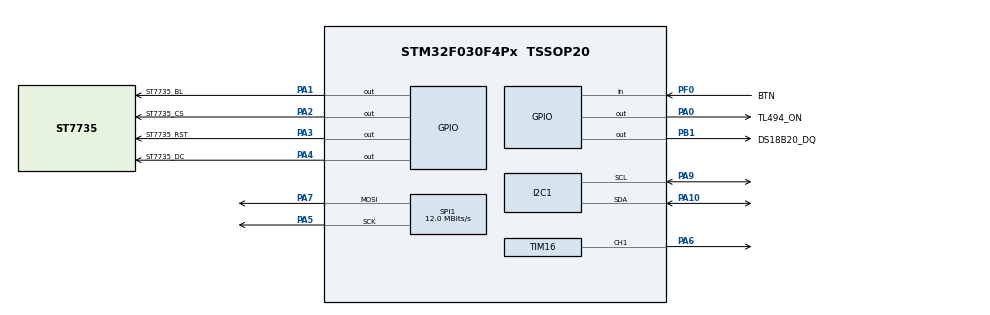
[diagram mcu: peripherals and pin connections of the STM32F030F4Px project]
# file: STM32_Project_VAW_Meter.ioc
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I2C1.Timing=0x00201D2B
Mcu.Family=STM32F0
Mcu.Name=STM32F030F4Px
Mcu.Package=TSSOP20
PA0.GPIO_Label=TL494_ON
PA0.Signal=GPIO_Output
PA1.GPIO_Label=ST7735_BL
PA1.PinState=GPIO_PIN_RESET
PA1.Signal=GPIO_Output
PA10.GPIO_Pu=GPIO_NOPULL
PA10.Mode=I2C
PA10.Signal=I2C1_SDA
PA13.Mode=Serial_Wire
PA13.Signal=SYS_SWDIO
PA14.Mode=Serial_Wire
PA14.Signal=SYS_SWCLK
PA2.GPIO_Label=ST7735_CS
PA2.GPIO_Speed=GPIO_SPEED_FREQ_HIGH
PA2.PinState=GPIO_PIN_SET
PA2.Signal=GPIO_Output
PA3.GPIO_Label=ST7735_RST
PA3.PinState=GPIO_PIN_SET
PA3.Signal=GPIO_Output
PA4.GPIO_Label=ST7735_DC
PA4.GPIO_Speed=GPIO_SPEED_FREQ_HIGH
PA4.PinState=GPIO_PIN_SET
PA4.Signal=GPIO_Output
PA5.Mode=TX_Only_Simplex_Unidirect_Master
PA5.Signal=SPI1_SCK
PA6.Signal=S_TIM16_CH1
PA7.Mode=TX_Only_Simplex_Unidirect_Master
PA7.Signal=SPI1_MOSI
PA9.GPIO_Pu=GPIO_NOPULL
PA9.Mode=I2C
PA9.Signal=I2C1_SCL
PB1.GPIO_Label=DS18B20_DQ
PB1.GPIO_ModeDefaultOutputPP=GPIO_MODE_OUTPUT_OD
PB1.GPIO_PuPd=GPIO_NOPULL
PB1.GPIO_Speed=GPIO_SPEED_FREQ_HIGH
PB1.PinState=GPIO_PIN_SET
PB1.Signal=GPIO_Output
PF0-OSC_IN.GPIO_Label=BTN
PF0-OSC_IN.Signal=GPIO_Input
ProjectManager.HeapSize=0x200
ProjectManager.StackSize=0x400
ProjectManager.TargetToolchain=CMake
RCC.AHBFreq_Value=48000000
RCC.APB1Freq_Value=48000000
RCC.APB1TimFreq_Value=48000000
RCC.HCLKFreq_Value=48000000
RCC.PLLMUL=RCC_PLL_MUL12
RCC.SYSCLKFreq_VALUE=48000000
RCC.SYSCLKSource=RCC_SYSCLKSOURCE_PLLCLK
SH.S_TIM16_CH1.0=TIM16_CH1,PWM Generation1 CH1
SPI1.BaudRatePrescaler=SPI_BAUDRATEPRESCALER_4
SPI1.CalculateBaudRate=12.0 MBits/s
SPI1.DataSize=SPI_DATASIZE_8BIT
SPI1.Direction=SPI_DIRECTION_2LINES
SPI1.Mode=SPI_MODE_MASTER
SPI1.NSSPMode=SPI_NSS_PULSE_DISABLE
SPI1.VirtualType=VM_MASTER
TIM16.Channel=TIM_CHANNEL_1
TIM16.Period=2399
TIM16.Prescaler=0
TIM16.Pulse=1200
VP_TIM16_VS_ClockSourceINT.Mode=Enable_Timer
board=custom

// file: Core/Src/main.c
/* USER CODE BEGIN Header */
/**
 ******************************************************************************
 * @file           : main.c
 * @brief          : Main program body
 ******************************************************************************
 * @attention
 *
 * Copyright (c) 2026 STMicroelectronics.
 * All rights reserved.
 *
 * This software is licensed under terms that can be found in the LICENSE file
 * in the root directory of this software component.
 * If no LICENSE file comes with this software, it is provided AS-IS.
 *
 ******************************************************************************
 */
/* USER CODE END Header */
#include "main.h"

/* USER CODE BEGIN Includes */
#include "CMSIS_I2C.h"
#include "MGL.h"
#include "M_INA226.h"
#include "STM32_Library_INA226/M_INA226.h"
#include "app_types.h"
#include "display.h"
#include "ds18b20.h"
#include "meas.h"
#include "st7735.h"
#include "stm32f030x6.h"
#include "stm32f0xx_it.h"
#include "stm32f0xx_ll_gpio.h"
#include "stm32f0xx_ll_utils.h"

/* USER CODE END Includes */

/* USER CODE BEGIN PD */

// 0x28D94DFD0A6461
/* USER CODE END PD */

/* USER CODE BEGIN PV */

// DS18B20 sensor ID
uint8_t id_bytes[8] = {0x28, 0x61, 0x64, 0x0A, 0xFD, 0x4D, 0xD9, 0xBB};

extern volatile uint32_t tick_cnt; ///< sys tick counter
uint32_t mls_tmr_vaw_conv;  ///< ms timer for VAW conversion/display refresh
uint32_t mls_tmr_temp_conv; ///< ms timer for temperature conversion
/* USER CODE END PV */

void SystemClock_Config(void);
static void MX_GPIO_Init(void);
static void MX_I2C1_Init(void);
static void MX_SPI1_Init(void);
static void MX_TIM16_Init(void);
/* USER CODE BEGIN PFP */
void SysTick_Init(void);
uint32_t GetTick(void);
void TempControl(rps_type *r);
void CurrControl(rps_type *r);
/* USER CODE END PFP */

int main(void) {

    /* MCU
     * Configuration--------------------------------------------------------*/

    /* Reset of all peripherals, Initializes the Flash interface and the
     * Systick. */
    LL_APB1_GRP2_EnableClock(LL_APB1_GRP2_PERIPH_SYSCFG);
    LL_APB1_GRP1_EnableClock(LL_APB1_GRP1_PERIPH_PWR);

    /* SysTick_IRQn interrupt configuration */
    NVIC_SetPriority(SysTick_IRQn, 3);

    /* Configure the system clock */
    SystemClock_Config();

    /* Initialize all configured peripherals */
    MX_GPIO_Init();
    MX_I2C1_Init();
    MX_SPI1_Init();
    MX_TIM16_Init();
    /* USER CODE BEGIN 2 */
    SysTick_Init(); // systick start
    LL_mDelay(100);

    // Main structure initialization
    ////////////////////////////////////////////
    rps_type rps = {0};

    // Display
    ////////////////////////////////////////////
    DISP_GraphBarsStructInit(&rps);
    LL_SPI_Enable(SPI1);
    ST7735_Init();
    ST7735_BL_ON();

    rps.val.volt = VAL_VOLT_MAX;
    rps.val.curr = VAL_CURR_MAX;
    rps.val.watt = VAL_WATT_MAX;
    DISP_StartPage(&rps);
    DISP_MeasPage(&rps);
    LL_mDelay(200);

    // Temp sensor
    //////////////////////////////////////////
    DS18B20_Init();

    // INA226
    //////////////////////////////////////////
    INA_Init();
    INA_SetCalVal(4800);

    // Fan PWM timer
    ////////////////////////////////////////
    LL_TIM_CC_EnableChannel(TIM16, LL_TIM_CHANNEL_CH1);
    LL_TIM_EnableAllOutputs(TIM16);

    // Flags initial state
    ////////////////////////////////////////
    rps.fl.temp_conv_ready = 1; // first ds18b20 conversion
    rps.fl.tl494_on = 1;

    /* USER CODE END 2 */

    /* Infinite loop */
    /* USER CODE BEGIN WHILE */
    while (1) {
        // volt/amp/watt meter handler
        if (GetTick() - mls_tmr_vaw_conv >= SCREEN_REFRESH_RATE) {
            mls_tmr_vaw_conv = GetTick();
            VAW_Conversion(&rps);
            rps.fl.disp_meas_page = 1;
            CurrControl(&rps);
        }
        // display handler
        if (rps.fl.disp_meas_page == 1) {
            DISP_MeasPage(&rps);
            DISP_ErrString(&rps);
            rps.fl.disp_meas_page = 0;
        }
        // DS18B20 temperature request
        if (rps.fl.temp_conv_ready) {
            DS18B20_TempRequest();
            rps.fl.temp_conv_ready = 0;
        }
        // DS18B20 temperature conversion
        if (GetTick() - mls_tmr_temp_conv >= TEMP_CONVERS_TIME &&
            rps.fl.temp_conv_ready == 0) {
            mls_tmr_temp_conv = GetTick();
            rps.fl.temp_conv_ready = 1;
            rps.val.temp_t = DS18B20_ReadTemp();
            TempControl(&rps);
        }
        /* USER CODE END WHILE */

    }
}

void SystemClock_Config(void) {
    LL_FLASH_SetLatency(LL_FLASH_LATENCY_1);
    while (LL_FLASH_GetLatency() != LL_FLASH_LATENCY_1) {
    }
    LL_RCC_HSI_Enable();

    /* Wait till HSI is ready */
    while (LL_RCC_HSI_IsReady() != 1) {
    }
    LL_RCC_HSI_SetCalibTrimming(16);
    LL_RCC_PLL_ConfigDomain_SYS(LL_RCC_PLLSOURCE_HSI_DIV_2, LL_RCC_PLL_MUL_12);
    LL_RCC_PLL_Enable();

    /* Wait till PLL is ready */
    while (LL_RCC_PLL_IsReady() != 1) {
    }
    LL_RCC_SetAHBPrescaler(LL_RCC_SYSCLK_DIV_1);
    LL_RCC_SetAPB1Prescaler(LL_RCC_APB1_DIV_1);
    LL_RCC_SetSysClkSource(LL_RCC_SYS_CLKSOURCE_PLL);

    /* Wait till System clock is ready */
    while (LL_RCC_GetSysClkSource() != LL_RCC_SYS_CLKSOURCE_STATUS_PLL) {
    }
    LL_Init1msTick(48000000);
    LL_SetSystemCoreClock(48000000);
    LL_RCC_SetI2CClockSource(LL_RCC_I2C1_CLKSOURCE_HSI);
}

static void MX_I2C1_Init(void) {

    LL_I2C_InitTypeDef I2C_InitStruct = {0};

    LL_GPIO_InitTypeDef GPIO_InitStruct = {0};

    LL_AHB1_GRP1_EnableClock(LL_AHB1_GRP1_PERIPH_GPIOA);
    /**I2C1 GPIO Configuration
    PA9   ------> I2C1_SCL
    PA10   ------> I2C1_SDA
    */
    GPIO_InitStruct.Pin = LL_GPIO_PIN_9;
    GPIO_InitStruct.Mode = LL_GPIO_MODE_ALTERNATE;
    GPIO_InitStruct.Speed = LL_GPIO_SPEED_FREQ_HIGH;
    GPIO_InitStruct.OutputType = LL_GPIO_OUTPUT_OPENDRAIN;
    GPIO_InitStruct.Pull = LL_GPIO_PULL_NO;
    GPIO_InitStruct.Alternate = LL_GPIO_AF_4;
    LL_GPIO_Init(GPIOA, &GPIO_InitStruct);

    GPIO_InitStruct.Pin = LL_GPIO_PIN_10;
    GPIO_InitStruct.Mode = LL_GPIO_MODE_ALTERNATE;
    GPIO_InitStruct.Speed = LL_GPIO_SPEED_FREQ_HIGH;
    GPIO_InitStruct.OutputType = LL_GPIO_OUTPUT_OPENDRAIN;
    GPIO_InitStruct.Pull = LL_GPIO_PULL_NO;
    GPIO_InitStruct.Alternate = LL_GPIO_AF_4;
    LL_GPIO_Init(GPIOA, &GPIO_InitStruct);

    /* Peripheral clock enable */
    LL_APB1_GRP1_EnableClock(LL_APB1_GRP1_PERIPH_I2C1);

    /** I2C Initialization
     */
    LL_I2C_DisableOwnAddress2(I2C1);
    LL_I2C_DisableGeneralCall(I2C1);
    LL_I2C_EnableClockStretching(I2C1);
    I2C_InitStruct.PeripheralMode = LL_I2C_MODE_I2C;
    I2C_InitStruct.Timing = 0x00201D2B;
    I2C_InitStruct.AnalogFilter = LL_I2C_ANALOGFILTER_ENABLE;
    I2C_InitStruct.DigitalFilter = 0;
    I2C_InitStruct.OwnAddress1 = 0;
    I2C_InitStruct.TypeAcknowledge = LL_I2C_ACK;
    I2C_InitStruct.OwnAddrSize = LL_I2C_OWNADDRESS1_7BIT;
    LL_I2C_Init(I2C1, &I2C_InitStruct);
    LL_I2C_EnableAutoEndMode(I2C1);
    LL_I2C_SetOwnAddress2(I2C1, 0, LL_I2C_OWNADDRESS2_NOMASK);
}

static void MX_SPI1_Init(void) {

    LL_SPI_InitTypeDef SPI_InitStruct = {0};

    LL_GPIO_InitTypeDef GPIO_InitStruct = {0};

    /* Peripheral clock enable */
    LL_APB1_GRP2_EnableClock(LL_APB1_GRP2_PERIPH_SPI1);

    LL_AHB1_GRP1_EnableClock(LL_AHB1_GRP1_PERIPH_GPIOA);
    /**SPI1 GPIO Configuration
    PA5   ------> SPI1_SCK
    PA7   ------> SPI1_MOSI
    */
    GPIO_InitStruct.Pin = LL_GPIO_PIN_5;
    GPIO_InitStruct.Mode = LL_GPIO_MODE_ALTERNATE;
    GPIO_InitStruct.Speed = LL_GPIO_SPEED_FREQ_HIGH;
    GPIO_InitStruct.OutputType = LL_GPIO_OUTPUT_PUSHPULL;
    GPIO_InitStruct.Pull = LL_GPIO_PULL_NO;
    GPIO_InitStruct.Alternate = LL_GPIO_AF_0;
    LL_GPIO_Init(GPIOA, &GPIO_InitStruct);

    GPIO_InitStruct.Pin = LL_GPIO_PIN_7;
    GPIO_InitStruct.Mode = LL_GPIO_MODE_ALTERNATE;
    GPIO_InitStruct.Speed = LL_GPIO_SPEED_FREQ_HIGH;
    GPIO_InitStruct.OutputType = LL_GPIO_OUTPUT_PUSHPULL;
    GPIO_InitStruct.Pull = LL_GPIO_PULL_NO;
    GPIO_InitStruct.Alternate = LL_GPIO_AF_0;
    LL_GPIO_Init(GPIOA, &GPIO_InitStruct);

    /* SPI1 parameter configuration*/
    SPI_InitStruct.TransferDirection = LL_SPI_FULL_DUPLEX;
    SPI_InitStruct.Mode = LL_SPI_MODE_MASTER;
    SPI_InitStruct.DataWidth = LL_SPI_DATAWIDTH_8BIT;
    SPI_InitStruct.ClockPolarity = LL_SPI_POLARITY_LOW;
    SPI_InitStruct.ClockPhase = LL_SPI_PHASE_1EDGE;
    SPI_InitStruct.NSS = LL_SPI_NSS_SOFT;
    SPI_InitStruct.BaudRate = LL_SPI_BAUDRATEPRESCALER_DIV4;
    SPI_InitStruct.BitOrder = LL_SPI_MSB_FIRST;
    SPI_InitStruct.CRCCalculation = LL_SPI_CRCCALCULATION_DISABLE;
    SPI_InitStruct.CRCPoly = 7;
    LL_SPI_Init(SPI1, &SPI_InitStruct);
    LL_SPI_SetStandard(SPI1, LL_SPI_PROTOCOL_MOTOROLA);
    LL_SPI_DisableNSSPulseMgt(SPI1);
}

static void MX_TIM16_Init(void) {

    LL_TIM_InitTypeDef TIM_InitStruct = {0};
    LL_TIM_OC_InitTypeDef TIM_OC_InitStruct = {0};
    LL_TIM_BDTR_InitTypeDef TIM_BDTRInitStruct = {0};

    LL_GPIO_InitTypeDef GPIO_InitStruct = {0};

    /* Peripheral clock enable */
    LL_APB1_GRP2_EnableClock(LL_APB1_GRP2_PERIPH_TIM16);

    TIM_InitStruct.Prescaler = 0;
    TIM_InitStruct.CounterMode = LL_TIM_COUNTERMODE_UP;
    TIM_InitStruct.Autoreload = 2399;
    TIM_InitStruct.ClockDivision = LL_TIM_CLOCKDIVISION_DIV1;
    TIM_InitStruct.RepetitionCounter = 0;
    LL_TIM_Init(TIM16, &TIM_InitStruct);
    LL_TIM_DisableARRPreload(TIM16);
    LL_TIM_OC_EnablePreload(TIM16, LL_TIM_CHANNEL_CH1);
    TIM_OC_InitStruct.OCMode = LL_TIM_OCMODE_PWM1;
    TIM_OC_InitStruct.OCState = LL_TIM_OCSTATE_DISABLE;
    TIM_OC_InitStruct.OCNState = LL_TIM_OCSTATE_DISABLE;
    TIM_OC_InitStruct.CompareValue = 0;
    TIM_OC_InitStruct.OCPolarity = LL_TIM_OCPOLARITY_HIGH;
    TIM_OC_InitStruct.OCNPolarity = LL_TIM_OCPOLARITY_HIGH;
    TIM_OC_InitStruct.OCIdleState = LL_TIM_OCIDLESTATE_LOW;
    TIM_OC_InitStruct.OCNIdleState = LL_TIM_OCIDLESTATE_LOW;
    LL_TIM_OC_Init(TIM16, LL_TIM_CHANNEL_CH1, &TIM_OC_InitStruct);
    LL_TIM_OC_DisableFast(TIM16, LL_TIM_CHANNEL_CH1);
    TIM_BDTRInitStruct.OSSRState = LL_TIM_OSSR_DISABLE;
    TIM_BDTRInitStruct.OSSIState = LL_TIM_OSSI_DISABLE;
    TIM_BDTRInitStruct.LockLevel = LL_TIM_LOCKLEVEL_OFF;
    TIM_BDTRInitStruct.DeadTime = 0;
    TIM_BDTRInitStruct.BreakState = LL_TIM_BREAK_DISABLE;
    TIM_BDTRInitStruct.BreakPolarity = LL_TIM_BREAK_POLARITY_HIGH;
    TIM_BDTRInitStruct.AutomaticOutput = LL_TIM_AUTOMATICOUTPUT_DISABLE;
    LL_TIM_BDTR_Init(TIM16, &TIM_BDTRInitStruct);
    LL_AHB1_GRP1_EnableClock(LL_AHB1_GRP1_PERIPH_GPIOA);
    /**TIM16 GPIO Configuration
    PA6   ------> TIM16_CH1
    */
    GPIO_InitStruct.Pin = LL_GPIO_PIN_6;
    GPIO_InitStruct.Mode = LL_GPIO_MODE_ALTERNATE;
    GPIO_InitStruct.Speed = LL_GPIO_SPEED_FREQ_LOW;
    GPIO_InitStruct.OutputType = LL_GPIO_OUTPUT_PUSHPULL;
    GPIO_InitStruct.Pull = LL_GPIO_PULL_NO;
    GPIO_InitStruct.Alternate = LL_GPIO_AF_5;
    LL_GPIO_Init(GPIOA, &GPIO_InitStruct);
}

static void MX_GPIO_Init(void) {
    LL_GPIO_InitTypeDef GPIO_InitStruct = {0};

    /* GPIO Ports Clock Enable */
    LL_AHB1_GRP1_EnableClock(LL_AHB1_GRP1_PERIPH_GPIOF);
    LL_AHB1_GRP1_EnableClock(LL_AHB1_GRP1_PERIPH_GPIOA);
    LL_AHB1_GRP1_EnableClock(LL_AHB1_GRP1_PERIPH_GPIOB);

    /**/
    LL_GPIO_ResetOutputPin(TL494_ON_GPIO_Port, TL494_ON_Pin);

    /**/
    LL_GPIO_ResetOutputPin(ST7735_BL_GPIO_Port, ST7735_BL_Pin);

    /**/
    LL_GPIO_SetOutputPin(ST7735_CS_GPIO_Port, ST7735_CS_Pin);

    /**/
    LL_GPIO_SetOutputPin(ST7735_RST_GPIO_Port, ST7735_RST_Pin);

    /**/
    LL_GPIO_SetOutputPin(ST7735_DC_GPIO_Port, ST7735_DC_Pin);

    /**/
    LL_GPIO_SetOutputPin(DS18B20_DQ_GPIO_Port, DS18B20_DQ_Pin);

    /**/
    GPIO_InitStruct.Pin = BTN_Pin;
    GPIO_InitStruct.Mode = LL_GPIO_MODE_INPUT;
    GPIO_InitStruct.Pull = LL_GPIO_PULL_NO;
    LL_GPIO_Init(BTN_GPIO_Port, &GPIO_InitStruct);

    /**/
    GPIO_InitStruct.Pin = TL494_ON_Pin;
    GPIO_InitStruct.Mode = LL_GPIO_MODE_OUTPUT;
    GPIO_InitStruct.Speed = LL_GPIO_SPEED_FREQ_LOW;
    GPIO_InitStruct.OutputType = LL_GPIO_OUTPUT_PUSHPULL;
    GPIO_InitStruct.Pull = LL_GPIO_PULL_NO;
    LL_GPIO_Init(TL494_ON_GPIO_Port, &GPIO_InitStruct);

    /**/
    GPIO_InitStruct.Pin = ST7735_BL_Pin;
    GPIO_InitStruct.Mode = LL_GPIO_MODE_OUTPUT;
    GPIO_InitStruct.Speed = LL_GPIO_SPEED_FREQ_LOW;
    GPIO_InitStruct.OutputType = LL_GPIO_OUTPUT_PUSHPULL;
    GPIO_InitStruct.Pull = LL_GPIO_PULL_NO;
    LL_GPIO_Init(ST7735_BL_GPIO_Port, &GPIO_InitStruct);

    /**/
    GPIO_InitStruct.Pin = ST7735_CS_Pin;
    GPIO_InitStruct.Mode = LL_GPIO_MODE_OUTPUT;
    GPIO_InitStruct.Speed = LL_GPIO_SPEED_FREQ_HIGH;
    GPIO_InitStruct.OutputType = LL_GPIO_OUTPUT_PUSHPULL;
    GPIO_InitStruct.Pull = LL_GPIO_PULL_NO;
    LL_GPIO_Init(ST7735_CS_GPIO_Port, &GPIO_InitStruct);

    /**/
    GPIO_InitStruct.Pin = ST7735_RST_Pin;
    GPIO_InitStruct.Mode = LL_GPIO_MODE_OUTPUT;
    GPIO_InitStruct.Speed = LL_GPIO_SPEED_FREQ_LOW;
    GPIO_InitStruct.OutputType = LL_GPIO_OUTPUT_PUSHPULL;
    GPIO_InitStruct.Pull = LL_GPIO_PULL_NO;
    LL_GPIO_Init(ST7735_RST_GPIO_Port, &GPIO_InitStruct);

    /**/
    GPIO_InitStruct.Pin = ST7735_DC_Pin;
    GPIO_InitStruct.Mode = LL_GPIO_MODE_OUTPUT;
    GPIO_InitStruct.Speed = LL_GPIO_SPEED_FREQ_HIGH;
    GPIO_InitStruct.OutputType = LL_GPIO_OUTPUT_PUSHPULL;
    GPIO_InitStruct.Pull = LL_GPIO_PULL_NO;
    LL_GPIO_Init(ST7735_DC_GPIO_Port, &GPIO_InitStruct);

    /**/
    GPIO_InitStruct.Pin = DS18B20_DQ_Pin;
    GPIO_InitStruct.Mode = LL_GPIO_MODE_OUTPUT;
    GPIO_InitStruct.Speed = LL_GPIO_SPEED_FREQ_HIGH;
    GPIO_InitStruct.OutputType = LL_GPIO_OUTPUT_OPENDRAIN;
    GPIO_InitStruct.Pull = LL_GPIO_PULL_NO;
    LL_GPIO_Init(DS18B20_DQ_GPIO_Port, &GPIO_InitStruct);

}

/* USER CODE BEGIN 4 */

/**
 * @brief SysTick initialization
 * @param None
 * @return None
 */
void SysTick_Init(void) {
    SysTick->LOAD = 48000 - 1; // 1 ms reload 48MHz/1000=48000
    SysTick->VAL = 0;          // reload
    SysTick->CTRL = 0;         // reload
    // CLKSOURCE -> CPU
    SET_BIT(SysTick->CTRL, SysTick_CTRL_CLKSOURCE_Msk);
    // TICKINT) -> IRQ enable
    SET_BIT(SysTick->CTRL, SysTick_CTRL_TICKINT_Msk);
    // ENABLE -> counter enable
    SET_BIT(SysTick->CTRL, SysTick_CTRL_ENABLE_Msk);
}

/**
 * @brief  get SysTick ticks
 * @param  None
 * @retval ticks
 */
uint32_t GetTick(void) { return tick_cnt; }

/**
 * @brief overheat catching and fan conctrol function
 * @param[in] rps_type r
 */
void TempControl(rps_type *r) {
    RPS_CHECK_STRUCT_PTR();

    // here is overheat error just after start of the PS due to EMI
    // This is protection. Start FAN control after 3 cycles
    static uint64_t cnt;
    if (cnt++ < 3)
        return;

    if (r->val.temp_t >= TEMP_1ST_LIMIT && r->val.temp_t < TEMP_2ND_LIMIT) {
        LL_TIM_OC_SetCompareCH1(TIM16, 1200);
        LL_TIM_EnableCounter(TIM16);
    }
    if (r->val.temp_t >= TEMP_2ND_LIMIT && r->val.temp_t < TEMP_3RD_LIMIT) {
        LL_TIM_OC_SetCompareCH1(TIM16, 1600);
        LL_TIM_EnableCounter(TIM16);
    }
    if (r->val.temp_t >= TEMP_3RD_LIMIT && r->val.temp_t < TEMP_HIGH_LIMIT) {
        LL_TIM_OC_SetCompareCH1(TIM16, 2000);
        LL_TIM_EnableCounter(TIM16);
    }
    if (r->val.temp_t >= TEMP_HIGH_LIMIT) {
        // fan rpm to max
        LL_TIM_OC_SetCompareCH1(TIM16, 2400);
        LL_TIM_EnableCounter(TIM16);
        // LL_GPIO_ResetOutputPin(TL494_ON_GPIO_Port, TL494_ON_Pin);
        // r->fl.tl494_on = 0;
        r->fl.overheat = 1;
    }
}

/**
 * @brief overcurrent/reverse current catching function
 * @param[in] rps_type r
 */
void CurrControl(rps_type *r) {
    RPS_CHECK_STRUCT_PTR();

    if (r->val.curr_u > VAL_CURR_MAX) {
        LL_TIM_OC_SetCompareCH1(TIM16, 2400);
        LL_TIM_EnableCounter(TIM16);
        r->fl.overcurr = 1;
        // LL_GPIO_ResetOutputPin(TL494_ON_GPIO_Port, TL494_ON_Pin);
        // r->fl.tl494_on = 0;
    }

    if (r->val.curr < -3) {
        r->fl.rev_curr = 1;
        LL_TIM_OC_SetCompareCH1(TIM16, 2400);
        LL_TIM_EnableCounter(TIM16);
        // LL_GPIO_ResetOutputPin(TL494_ON_GPIO_Port, TL494_ON_Pin);
    }
}
/* USER CODE END 4 */

void Error_Handler(void) {
    /* USER CODE BEGIN Error_Handler_Debug */
    /* User can add his own implementation to report the HAL error return state
     */
    __disable_irq();
    while (1) {
    }
    /* USER CODE END Error_Handler_Debug */
}
#ifdef USE_FULL_ASSERT
/**
 * @brief  Reports the name of the source file and the source line number
 *         where the assert_param error has occurred.
 * @param  file: pointer to the source file name
 * @param  line: assert_param error line source number
 * @retval None
 */
void assert_failed(uint8_t *file, uint32_t line) {
    /* USER CODE BEGIN 6 */
    /* User can add his own implementation to report the file name and line
       number, ex: printf("Wrong parameters value: file %s on line %d\r\n",
       file, line) */
    /* USER CODE END 6 */
}
#endif /* USE_FULL_ASSERT */
